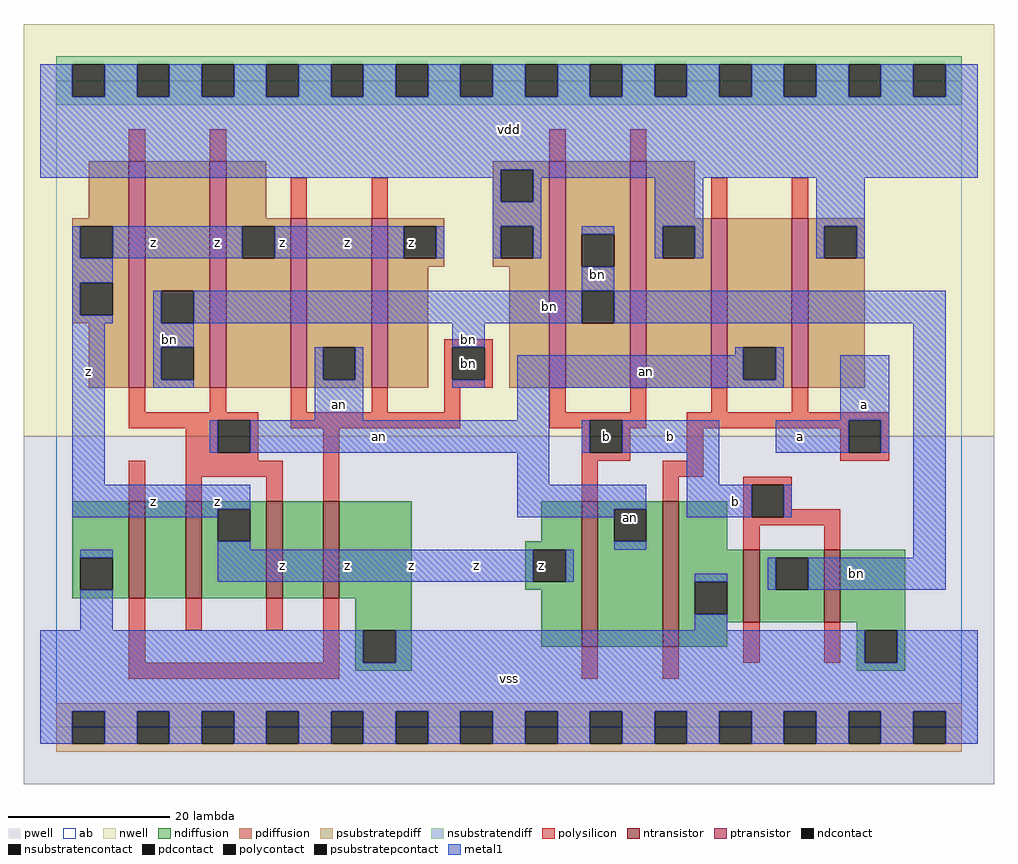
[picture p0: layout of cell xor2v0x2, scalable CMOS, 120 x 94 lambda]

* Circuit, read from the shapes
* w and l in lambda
.subckt xor2v0x2 a an b bn vdd vss z
M1 n1 bn vss vss nfet w=12 l=2
M2 z an n1 vss nfet w=12 l=2
M3 n2 an z vss nfet w=12 l=2
M4 vss bn n2 vss nfet w=12 l=2
M5 an b z vss nfet w=18 l=2
M6 vss a an vss nfet w=18 l=2
M7 bn b vss vss nfet w=9 l=2 m=2
M8 bn an z vdd pfet w=28 l=2 m=2
M9 an bn z vdd pfet w=21 l=2 m=2
M10 bn b vdd vdd pfet w=28 l=2 m=2
M11 an a vdd vdd pfet w=21 l=2 m=2
.ends

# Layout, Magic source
magic
tech scmos
<< ab >>
rect 0 0 112 80
<< pwell >>
rect -4 -7 116 36
<< nwell >>
rect -4 36 116 87
<< polysilicon >>
rect 9 70 11 74
rect 19 70 21 74
rect 61 70 63 74
rect 71 70 73 74
rect 29 63 31 68
rect 39 63 41 68
rect 48 47 54 48
rect 48 43 49 47
rect 53 43 54 47
rect 48 42 54 43
rect 81 63 83 68
rect 91 63 93 68
rect 9 39 11 42
rect 19 39 21 42
rect 29 39 31 42
rect 39 39 41 42
rect 48 39 50 42
rect 9 38 25 39
rect 9 37 20 38
rect 16 34 20 37
rect 24 34 25 38
rect 29 37 50 39
rect 61 39 63 42
rect 71 39 73 42
rect 81 39 83 42
rect 91 39 93 42
rect 61 38 73 39
rect 61 37 66 38
rect 16 33 25 34
rect 9 28 11 33
rect 16 31 28 33
rect 16 28 18 31
rect 26 28 28 31
rect 33 28 35 37
rect 65 34 66 37
rect 70 37 73 38
rect 78 38 103 39
rect 78 37 98 38
rect 70 34 71 37
rect 65 33 71 34
rect 78 33 80 37
rect 97 34 98 37
rect 102 34 103 38
rect 97 33 103 34
rect 65 28 67 33
rect 75 31 80 33
rect 75 28 77 31
rect 85 30 91 31
rect 9 8 11 16
rect 16 12 18 16
rect 26 12 28 16
rect 33 8 35 16
rect 9 6 35 8
rect 85 26 86 30
rect 90 27 91 30
rect 90 26 97 27
rect 85 25 97 26
rect 85 22 87 25
rect 95 22 97 25
rect 65 6 67 10
rect 75 6 77 10
rect 85 8 87 13
rect 95 8 97 13
<< ndiffusion >>
rect 2 21 9 28
rect 2 17 3 21
rect 7 17 9 21
rect 2 16 9 17
rect 11 16 16 28
rect 18 27 26 28
rect 18 23 20 27
rect 24 23 26 27
rect 18 16 26 23
rect 28 16 33 28
rect 35 16 44 28
rect 60 23 65 28
rect 58 22 65 23
rect 58 18 59 22
rect 63 18 65 22
rect 58 17 65 18
rect 37 12 44 16
rect 37 8 38 12
rect 42 8 44 12
rect 60 10 65 17
rect 67 27 75 28
rect 67 23 69 27
rect 73 23 75 27
rect 67 10 75 23
rect 77 22 83 28
rect 77 18 85 22
rect 77 14 79 18
rect 83 14 85 18
rect 77 13 85 14
rect 87 21 95 22
rect 87 17 89 21
rect 93 17 95 21
rect 87 13 95 17
rect 97 13 105 22
rect 77 10 83 13
rect 37 7 44 8
rect 99 12 105 13
rect 99 8 100 12
rect 104 8 105 12
rect 99 7 105 8
<< pdiffusion >>
rect 4 63 9 70
rect 2 62 9 63
rect 2 58 3 62
rect 7 58 9 62
rect 2 55 9 58
rect 2 51 3 55
rect 7 51 9 55
rect 2 50 9 51
rect 4 42 9 50
rect 11 54 19 70
rect 11 50 13 54
rect 17 50 19 54
rect 11 47 19 50
rect 11 43 13 47
rect 17 43 19 47
rect 11 42 19 43
rect 21 63 26 70
rect 54 69 61 70
rect 54 65 55 69
rect 59 65 61 69
rect 21 62 29 63
rect 21 58 23 62
rect 27 58 29 62
rect 21 42 29 58
rect 31 47 39 63
rect 31 43 33 47
rect 37 43 39 47
rect 31 42 39 43
rect 41 62 48 63
rect 41 58 43 62
rect 47 58 48 62
rect 41 57 48 58
rect 54 62 61 65
rect 54 58 55 62
rect 59 58 61 62
rect 54 57 61 58
rect 41 42 46 57
rect 56 42 61 57
rect 63 61 71 70
rect 63 57 65 61
rect 69 57 71 61
rect 63 54 71 57
rect 63 50 65 54
rect 69 50 71 54
rect 63 42 71 50
rect 73 63 79 70
rect 73 62 81 63
rect 73 58 75 62
rect 79 58 81 62
rect 73 42 81 58
rect 83 47 91 63
rect 83 43 85 47
rect 89 43 91 47
rect 83 42 91 43
rect 93 62 100 63
rect 93 58 95 62
rect 99 58 100 62
rect 93 42 100 58
<< metal1 >>
rect -2 78 2 82
rect 6 78 10 82
rect 14 78 18 82
rect 22 78 26 82
rect 30 78 34 82
rect 38 78 42 82
rect 46 78 50 82
rect 54 78 58 82
rect 62 78 66 82
rect 70 78 74 82
rect 78 78 82 82
rect 86 78 90 82
rect 94 78 98 82
rect 102 78 106 82
rect 110 78 114 82
rect -2 69 114 78
rect -2 68 55 69
rect 54 65 55 68
rect 59 68 114 69
rect 59 65 60 68
rect 54 62 60 65
rect 74 62 80 68
rect 2 58 3 62
rect 7 58 23 62
rect 27 58 43 62
rect 47 58 48 62
rect 54 58 55 62
rect 59 58 60 62
rect 65 61 69 62
rect 2 55 7 58
rect 2 51 3 55
rect 74 58 75 62
rect 79 58 80 62
rect 94 62 100 68
rect 94 58 95 62
rect 99 58 100 62
rect 65 54 69 57
rect 2 50 7 51
rect 12 50 13 54
rect 17 50 65 54
rect 69 50 110 54
rect 2 30 6 50
rect 12 47 17 50
rect 49 47 53 50
rect 12 43 13 47
rect 12 42 17 43
rect 32 43 33 47
rect 37 43 38 47
rect 32 38 38 43
rect 84 46 85 47
rect 49 42 53 43
rect 57 43 85 46
rect 89 43 90 47
rect 57 42 90 43
rect 57 38 61 42
rect 97 38 103 46
rect 19 34 20 38
rect 24 34 61 38
rect 65 34 66 38
rect 70 34 82 38
rect 89 34 98 38
rect 102 34 103 38
rect 57 30 61 34
rect 78 30 82 34
rect 2 27 24 30
rect 2 26 20 27
rect 57 27 73 30
rect 57 26 69 27
rect 20 22 24 23
rect 78 26 86 30
rect 90 26 91 30
rect 69 22 73 23
rect 3 21 7 22
rect 20 18 59 22
rect 63 18 64 22
rect 106 21 110 50
rect 79 18 83 19
rect 3 12 7 17
rect 88 17 89 21
rect 93 17 110 21
rect 79 12 83 14
rect -2 8 38 12
rect 42 8 100 12
rect 104 8 114 12
rect -2 2 114 8
rect -2 -2 2 2
rect 6 -2 10 2
rect 14 -2 18 2
rect 22 -2 26 2
rect 30 -2 34 2
rect 38 -2 42 2
rect 46 -2 50 2
rect 54 -2 58 2
rect 62 -2 66 2
rect 70 -2 74 2
rect 78 -2 82 2
rect 86 -2 90 2
rect 94 -2 98 2
rect 102 -2 106 2
rect 110 -2 114 2
<< ntransistor >>
rect 9 16 11 28
rect 16 16 18 28
rect 26 16 28 28
rect 33 16 35 28
rect 65 10 67 28
rect 75 10 77 28
rect 85 13 87 22
rect 95 13 97 22
<< ptransistor >>
rect 9 42 11 70
rect 19 42 21 70
rect 29 42 31 63
rect 39 42 41 63
rect 61 42 63 70
rect 71 42 73 70
rect 81 42 83 63
rect 91 42 93 63
<< polycontact >>
rect 49 43 53 47
rect 20 34 24 38
rect 66 34 70 38
rect 98 34 102 38
rect 86 26 90 30
<< ndcontact >>
rect 3 17 7 21
rect 20 23 24 27
rect 59 18 63 22
rect 38 8 42 12
rect 69 23 73 27
rect 79 14 83 18
rect 89 17 93 21
rect 100 8 104 12
<< pdcontact >>
rect 3 58 7 62
rect 3 51 7 55
rect 13 50 17 54
rect 13 43 17 47
rect 55 65 59 69
rect 23 58 27 62
rect 33 43 37 47
rect 43 58 47 62
rect 55 58 59 62
rect 65 57 69 61
rect 65 50 69 54
rect 75 58 79 62
rect 85 43 89 47
rect 95 58 99 62
<< psubstratepcontact >>
rect 2 -2 6 2
rect 10 -2 14 2
rect 18 -2 22 2
rect 26 -2 30 2
rect 34 -2 38 2
rect 42 -2 46 2
rect 50 -2 54 2
rect 58 -2 62 2
rect 66 -2 70 2
rect 74 -2 78 2
rect 82 -2 86 2
rect 90 -2 94 2
rect 98 -2 102 2
rect 106 -2 110 2
<< nsubstratencontact >>
rect 2 78 6 82
rect 10 78 14 82
rect 18 78 22 82
rect 26 78 30 82
rect 34 78 38 82
rect 42 78 46 82
rect 50 78 54 82
rect 58 78 62 82
rect 66 78 70 82
rect 74 78 78 82
rect 82 78 86 82
rect 90 78 94 82
rect 98 78 102 82
rect 106 78 110 82
<< psubstratepdiff >>
rect 0 2 112 3
rect 0 -2 2 2
rect 6 -2 10 2
rect 14 -2 18 2
rect 22 -2 26 2
rect 30 -2 34 2
rect 38 -2 42 2
rect 46 -2 50 2
rect 54 -2 58 2
rect 62 -2 66 2
rect 70 -2 74 2
rect 78 -2 82 2
rect 86 -2 90 2
rect 94 -2 98 2
rect 102 -2 106 2
rect 110 -2 112 2
rect 0 -3 112 -2
<< nsubstratendiff >>
rect 0 82 112 83
rect 0 78 2 82
rect 6 78 10 82
rect 14 78 18 82
rect 22 78 26 82
rect 30 78 34 82
rect 38 78 42 82
rect 46 78 50 82
rect 54 78 58 82
rect 62 78 66 82
rect 70 78 74 82
rect 78 78 82 82
rect 86 78 90 82
rect 94 78 98 82
rect 102 78 106 82
rect 110 78 112 82
rect 0 77 112 78
<< labels >>
rlabel polycontact 51 45 51 45 6 bn
rlabel metal1 12 28 12 28 6 z
rlabel metal1 4 44 4 44 6 z
rlabel metal1 14 48 14 48 6 bn
rlabel metal1 12 60 12 60 6 z
rlabel metal1 20 28 20 28 6 z
rlabel metal1 36 20 36 20 6 z
rlabel metal1 28 20 28 20 6 z
rlabel metal1 35 40 35 40 6 an
rlabel metal1 20 60 20 60 6 z
rlabel metal1 36 60 36 60 6 z
rlabel metal1 28 60 28 60 6 z
rlabel metal1 56 6 56 6 6 vss
rlabel metal1 44 20 44 20 6 z
rlabel ndcontact 60 20 60 20 6 z
rlabel metal1 52 20 52 20 6 z
rlabel metal1 40 36 40 36 6 an
rlabel metal1 51 48 51 48 6 bn
rlabel pdcontact 44 60 44 60 6 z
rlabel metal1 56 74 56 74 6 vdd
rlabel ndcontact 71 26 71 26 6 an
rlabel metal1 84 28 84 28 6 b
rlabel polycontact 68 36 68 36 6 b
rlabel metal1 73 44 73 44 6 an
rlabel metal1 76 36 76 36 6 b
rlabel metal1 67 56 67 56 6 bn
rlabel metal1 99 19 99 19 6 bn
rlabel metal1 92 36 92 36 6 a
rlabel metal1 100 40 100 40 6 a
rlabel metal1 61 52 61 52 6 bn
<< end >>
